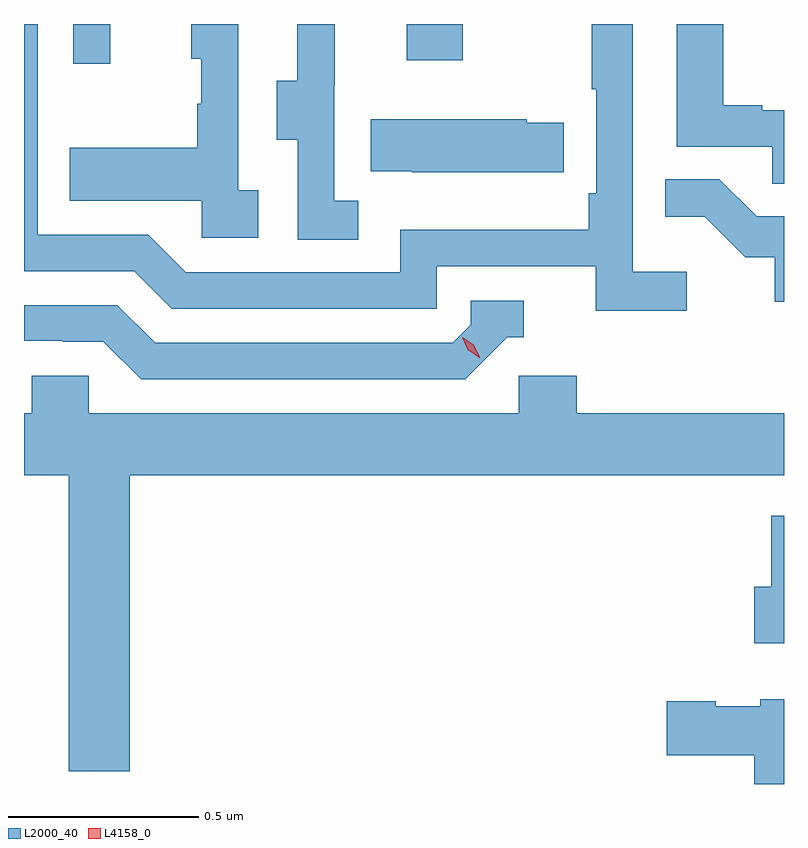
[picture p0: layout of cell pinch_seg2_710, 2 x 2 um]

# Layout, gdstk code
import gdstk
lib = gdstk.Library(unit=1e-6, precision=1e-09)
def R(c, l, rs):  # rectangles x0, y0, x1, y1
    for r in rs: c.add(gdstk.rectangle(r[:2], r[2:], *l))
def P(c, l, *ps):  # polygons
    for p in ps: c.add(gdstk.Polygon(p, *l))
L2000_40 = (2000, 40)
L4158_0 = (4158, 0)

pinch_seg2_710 = lib.new_cell('pinch_seg2_710')
R(pinch_seg2_710, L2000_40, [(1105.719,587.448,1105.817,587.552), (1106.597,587.457,1106.745,587.552)])
P(pinch_seg2_710, L2000_40, [(1107.59,587.325),(1107.533,587.325),(1107.533,587.338),(1107.43,587.338),(1107.43,587.552),(1107.308,587.552),(1107.308,587.229),(1107.559,587.229),(1107.559,587.131),(1107.59,587.131)],
  [(1106.206,587.114),(1106.154,587.114),(1106.154,587.552),(1106.03,587.552),(1106.03,587.46),(1106.056,587.46),(1106.056,587.342),(1106.046,587.342),(1106.046,587.227),(1105.711,587.227),(1105.711,587.087),(1106.058,587.087),(1106.058,586.989),(1106.206,586.989)],
  [(1106.47,587.087),(1106.406,587.087),(1106.406,587.391),(1106.408,587.391),(1106.408,587.552),(1106.309,587.552),(1106.309,587.403),(1106.255,587.403),(1106.255,587.248),(1106.31,587.248),(1106.31,586.984),(1106.47,586.984)],
  [(1107.334,586.9),(1107.192,586.9),(1107.192,587.552),(1107.084,587.552),(1107.084,587.38),(1107.096,587.38),(1107.096,587.107),(1107.076,587.107),(1107.076,587.011),(1106.58,587.011),(1106.58,586.899),(1106.016,586.899),(1105.917,586.998),(1105.626,586.998),(1105.626,587.552),(1105.59,587.552),(1105.59,586.902),(1105.88,586.902),(1105.979,586.803),(1106.676,586.803),(1106.676,586.914),(1107.095,586.914),(1107.095,586.798),(1107.334,586.798)],
  [(1107.011,587.292),(1106.913,587.292),(1106.913,587.302),(1106.503,587.302),(1106.503,587.165),(1106.611,587.165),(1106.611,587.162),(1107.011,587.162)],
  [(1107.59,587.046),(1107.518,587.046),(1107.42,587.144),(1107.277,587.144),(1107.277,587.045),(1107.381,587.045),(1107.488,586.938),(1107.565,586.938),(1107.565,586.821),(1107.59,586.821)],
  [(1106.862,586.728),(1106.905,586.728),(1106.905,586.824),(1106.766,586.824),(1106.766,586.761),(1106.718,586.713),(1105.935,586.713),(1105.836,586.812),(1105.59,586.812),(1105.59,586.719),(1105.692,586.719),(1105.692,586.716),(1105.799,586.716),(1105.898,586.617),(1106.751,586.617)],
  [(1105.868,586.364),(1107.59,586.364),(1107.59,586.528),(1107.044,586.528),(1107.044,586.626),(1106.892,586.626),(1106.892,586.528),(1105.761,586.528),(1105.761,586.626),(1105.611,586.626),(1105.611,586.528),(1105.59,586.528),(1105.59,586.364),(1105.708,586.364),(1105.708,585.585),(1105.868,585.585)],
  [(1107.59,586.258),(1107.556,586.258),(1107.556,586.071),(1107.512,586.071),(1107.512,585.923),(1107.59,585.923)],
  [(1107.59,585.775),(1107.528,585.775),(1107.528,585.757),(1107.411,585.757),(1107.411,585.77),(1107.282,585.77),(1107.282,585.628),(1107.512,585.628),(1107.512,585.552),(1107.59,585.552)])
P(pinch_seg2_710, L4158_0, [(1106.788,586.674),(1106.758,586.695),(1106.743,586.728),(1106.743,586.728),(1106.743,586.728),(1106.774,586.708),(1106.789,586.675),(1106.789,586.674)])

lib.write_gds('pinch_seg2_710.gds')
